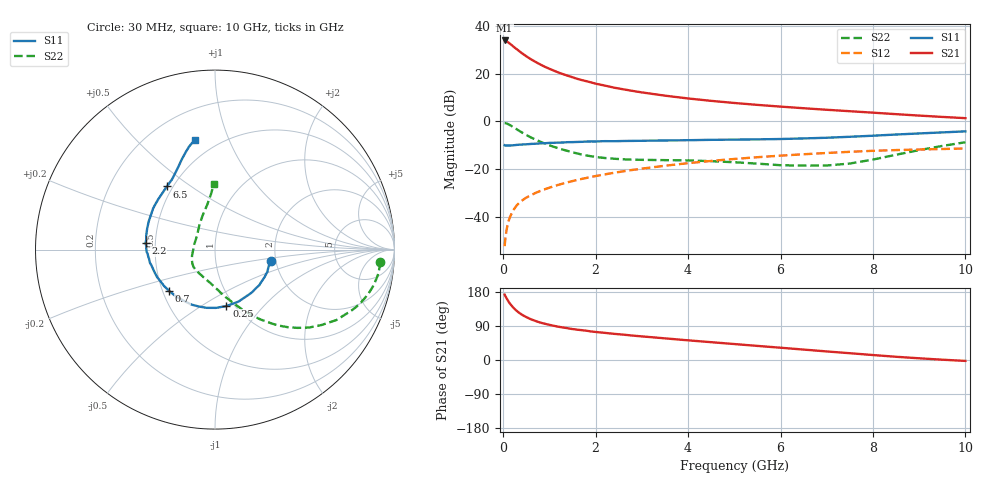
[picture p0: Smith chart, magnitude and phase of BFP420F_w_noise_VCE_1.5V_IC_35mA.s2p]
! Infineon Technologies  Discrete & RF Semiconductors
! BFP420F
! VCE =  1.5 V,  IC =  35 mA
! Common Emitter S-Parameters:  Sep 2011
# GHz  S  MA  R  50
!  f  S11  S21  S12  S22
! GHz  MAG  ANG  MAG  ANG  MAG  ANG  MAG  ANG
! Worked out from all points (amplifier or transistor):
!   54 points, 30 MHz to 10 GHz, reference 50 ohm
!   highest |S21| = 33.8 dB at 30 MHz (marker M1)
!   |S21| within 3 dB of that: start of sweep to 248.7 MHz
!   unconditionally stable (mu >= 1): 1.339 GHz to end of sweep
!   at 120 MHz: K = 0.37, MSG = 37.1 dB, |S12| = -41.3 dB
!   at 1.3 GHz: K = 0.99, MSG = 22.8 dB, |S12| = -25.9 dB
!   at 10 GHz: K = 1.22, MAG = 3.5 dB, |S12| = -11.3 dB
!   lowest NFmin = 1.93 dB at 450 MHz
!   S11 on the Smith chart (normalised r, x): 30 MHz: 1.88, -0.27; 250 MHz: 0.92, -0.65; 700 MHz: 0.54, -0.28; 2.2 GHz: 0.44, +0.04; 6.5 GHz: 0.46, +0.41; 10 GHz: 0.38, +0.76
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0.03  0.3191 -11.7  49.01 172.6  0.0025 90.5  0.9226 -4.2
0.05  0.3132 -17.7  48 167.6  0.004 90.1  0.9206 -8.0
0.07  0.3155 -26.2  47.31 163.5  0.0053 83.0  0.9093 -11.6
0.08  0.3158 -29.0  46.44 161.2  0.0059 83.2  0.9027 -13.3
0.12  0.3137 -43.0  43.91 153.1  0.0086 78.7  0.8669 -19.6
0.15  0.3141 -52.2  41.54 148.0  0.0103 77.2  0.8352 -23.8
0.2  0.3179 -65.9  38 140.7  0.0132 73.8  0.7823 -30.1
0.25  0.3209 -78.5  34.62 134.2  0.0156 71.6  0.7282 -35.2
0.35  0.3279 -98.2  29.13 124.1  0.0202 68.2  0.6336 -43.5
0.45  0.3331 -112.8  24.78 116.3  0.024 66.3  0.5562 -49.7
0.6  0.3399 -129.6  19.82 107.5  0.029 65.0  0.4637 -57.0
0.7  0.3436 -137.8  17.47 102.9  0.0323 64.7  0.4184 -60.8
0.9  0.3514 -149.9  13.84 95.7  0.0385 64.5  0.3461 -67.5
1.1  0.3592 -158.9  11.46 90.1  0.0447 64.5  0.2944 -73.7
1.7  0.3762 -176.2  7.314 78.7  0.0633 63.7  0.2039 -91.7
2.2  0.3884 174.5  5.602 71.6  0.0787 62.2  0.1728 -107.0
3.5  0.4012 157.1  3.454 57.1  0.1192 56.0  0.156 -133.8
5.5  0.4233 138.0  2.218 37.2  0.1796 43.2  0.1319 -165.7
6.5  0.4426 127.3  1.889 27.5  0.207 36.3  0.1198 167.9
7  0.4576 121.8  1.754 22.6  0.22 32.7  0.1205 152.5
8.5  0.5341 110.4  1.421 8.5  0.2529 21.3  0.2021 110.0
10  0.622 100.5  1.172 -2.4  0.273 12.0  0.3679 91.0
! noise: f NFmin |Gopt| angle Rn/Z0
0.45  1.93  0.32  -175  0.1
0.9  1.94  0.34  -172  0.13
1.9  2.07  0.39  -162  0.12
2.4  2.14  0.38  -155  0.13
3.5  2.39  0.37  -143  0.19
